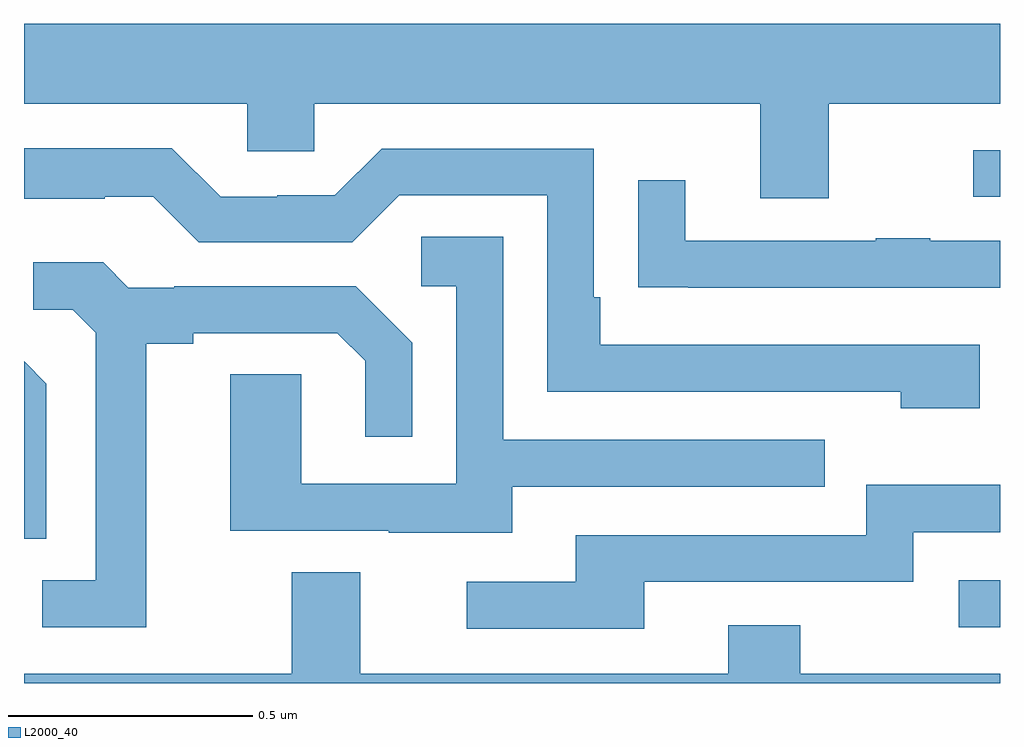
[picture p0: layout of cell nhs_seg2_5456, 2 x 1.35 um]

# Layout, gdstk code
import gdstk
lib = gdstk.Library(unit=1e-6, precision=1e-09)
def R(c, l, rs):  # rectangles x0, y0, x1, y1
    for r in rs: c.add(gdstk.rectangle(r[:2], r[2:], *l))
def P(c, l, *ps):  # polygons
    for p in ps: c.add(gdstk.Polygon(p, *l))
L2000_40 = (2000, 40)

nhs_seg2_5456 = lib.new_cell('nhs_seg2_5456')
R(nhs_seg2_5456, L2000_40, [(180.915,627.915,181,628.011), (180.945,628.797,181,628.893)])
P(nhs_seg2_5456, L2000_40, [(180.649,628.988),(181,628.988),(181,629.152),(179,629.152),(179,628.988),(179.457,628.988),(179.457,628.89),(179.595,628.89),(179.595,628.988),(180.509,628.988),(180.509,628.794),(180.649,628.794)],
  [(180.958,628.494),(180.181,628.494),(180.181,628.591),(180.168,628.591),(180.168,628.896),(179.733,628.896),(179.637,628.8),(179.519,628.8),(179.519,628.797),(179.403,628.797),(179.303,628.897),(179,628.897),(179,628.793),(179.165,628.793),(179.165,628.797),(179.265,628.797),(179.358,628.704),(179.673,628.704),(179.769,628.8),(180.072,628.8),(180.072,628.398),(180.797,628.398),(180.797,628.364),(180.958,628.364)],
  [(181,628.707),(180.857,628.707),(180.857,628.712),(180.745,628.712),(180.745,628.707),(180.355,628.707),(180.355,628.831),(180.259,628.831),(180.259,628.612),(180.361,628.612),(180.361,628.611),(181,628.611)],
  [(180.001,628.203),(180.641,628.203),(180.641,628.299),(179.982,628.299),(179.982,628.715),(179.814,628.715),(179.814,628.614),(179.886,628.614),(179.886,628.209),(179.568,628.209),(179.568,628.433),(179.423,628.433),(179.423,628.113),(179.747,628.113),(179.747,628.109),(180.001,628.109)],
  [(179.251,628.496),(179.347,628.496),(179.347,628.518),(179.642,628.518),(179.699,628.461),(179.699,628.305),(179.796,628.305),(179.796,628.498),(179.68,628.614),(179.308,628.614),(179.308,628.611),(179.214,628.611),(179.162,628.663),(179.019,628.663),(179.019,628.566),(179.1,628.566),(179.147,628.519),(179.147,628.011),(179.037,628.011),(179.037,627.915),(179.251,627.915)],
  [(179.046,628.414),(179,628.46),(179,628.096),(179.046,628.096)],
  [(180.271,628.008),(180.822,628.008),(180.822,628.11),(181,628.11),(181,628.207),(180.726,628.207),(180.726,628.104),(180.131,628.104),(180.131,628.008),(179.907,628.008),(179.907,627.912),(180.271,627.912)],
  [(181,627.82),(180.591,627.82),(180.591,627.919),(180.443,627.919),(180.443,627.82),(179.689,627.82),(179.689,628.028),(179.549,628.028),(179.549,627.82),(179,627.82),(179,627.8),(181,627.8)])

lib.write_gds('nhs_seg2_5456.gds')
